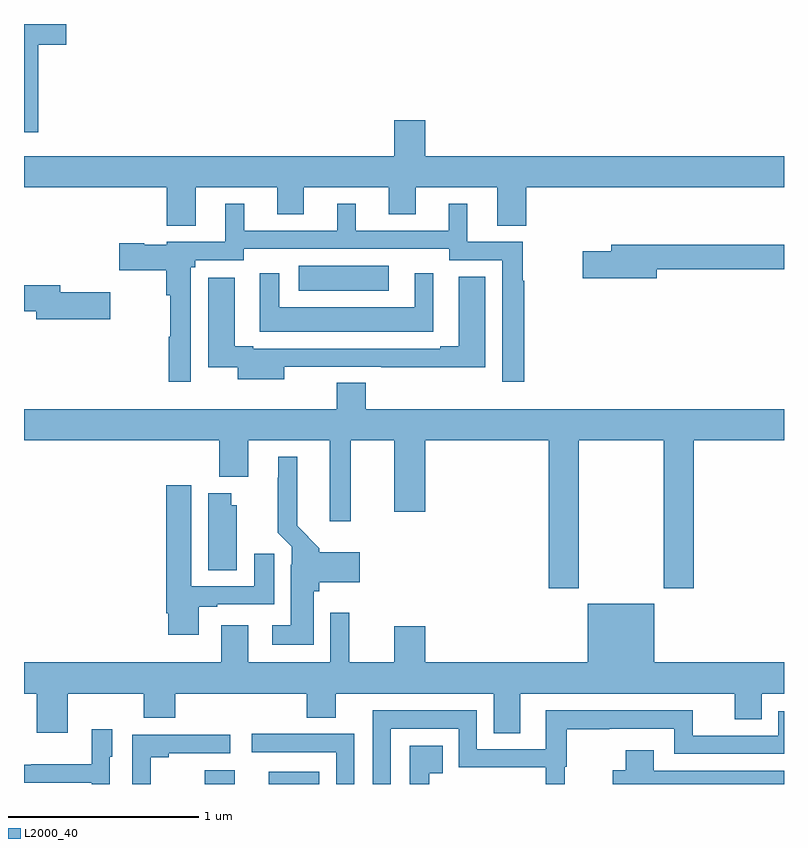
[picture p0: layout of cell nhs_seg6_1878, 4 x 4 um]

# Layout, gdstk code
import gdstk
lib = gdstk.Library(unit=1e-6, precision=1e-09)
def R(c, l, rs):  # rectangles x0, y0, x1, y1
    for r in rs: c.add(gdstk.rectangle(r[:2], r[2:], *l))
def P(c, l, *ps):  # polygons
    for p in ps: c.add(gdstk.Polygon(p, *l))
L2000_40 = (2000, 40)

nhs_seg6_1878 = lib.new_cell('nhs_seg6_1878')
R(nhs_seg6_1878, L2000_40, [(223.952,973.5,224.11,973.573), (224.288,973.5,224.553,973.564), (224.445,976.097,224.92,976.228)])
P(nhs_seg6_1878, L2000_40, [(223.075,977.39),(223.222,977.39),(223.222,977.5),(223,977.5),(223,976.929),(223.075,976.929)],
  [(223.903,976.64),(224.333,976.64),(224.333,976.498),(224.473,976.498),(224.473,976.64),(224.921,976.64),(224.921,976.498),(225.061,976.498),(225.061,976.64),(225.491,976.64),(225.491,976.438),(225.644,976.438),(225.644,976.64),(227,976.64),(227,976.804),(225.112,976.804),(225.112,976.993),(224.948,976.993),(224.948,976.804),(223,976.804),(223,976.64),(223.751,976.64),(223.751,976.438),(223.903,976.438)],
  [(223.878,976.221),(223.901,976.221),(223.901,976.257),(224.157,976.257),(224.157,976.317),(225.237,976.317),(225.237,976.257),(225.516,976.257),(225.516,975.618),(225.632,975.618),(225.632,976.15),(225.625,976.15),(225.625,976.353),(225.334,976.353),(225.334,976.555),(225.236,976.555),(225.236,976.413),(224.746,976.413),(224.746,976.555),(224.648,976.555),(224.648,976.413),(224.158,976.413),(224.158,976.555),(224.06,976.555),(224.06,976.353),(223.752,976.353),(223.752,976.339),(223.632,976.339),(223.632,976.347),(223.5,976.347),(223.5,976.205),(223.748,976.205),(223.748,976.073),(223.77,976.073),(223.77,975.854),(223.762,975.854),(223.762,975.618),(223.878,975.618)],
  [(226.33,976.21),(227,976.21),(227,976.339),(226.091,976.339),(226.091,976.305),(225.942,976.305),(225.942,976.163),(226.33,976.163)],
  [(225.154,976.189),(225.056,976.189),(225.056,976.009),(224.344,976.009),(224.344,976.189),(224.24,976.189),(224.24,975.881),(225.154,975.881)],
  [(224.371,975.696),(224.881,975.696),(224.881,975.694),(225.427,975.694),(225.427,976.171),(225.287,976.171),(225.287,975.805),(225.191,975.805),(225.191,975.792),(224.206,975.792),(224.206,975.805),(224.11,975.805),(224.11,976.165),(223.97,976.165),(223.97,975.694),(224.126,975.694),(224.126,975.629),(224.371,975.629)],
  [(223.453,976.088),(223.192,976.088),(223.192,976.124),(223,976.124),(223,975.988),(223.064,975.988),(223.064,975.946),(223.453,975.946)],
  [(225.921,975.308),(226.366,975.308),(226.366,974.529),(226.526,974.529),(226.526,975.308),(227,975.308),(227,975.472),(224.798,975.472),(224.798,975.611),(224.645,975.611),(224.645,975.472),(223,975.472),(223,975.308),(224.027,975.308),(224.027,975.116),(224.179,975.116),(224.179,975.308),(224.609,975.308),(224.609,974.883),(224.719,974.883),(224.719,975.308),(224.948,975.308),(224.948,974.934),(225.112,974.934),(225.112,975.308),(225.761,975.308),(225.761,974.529),(225.921,974.529)],
  [(224.524,974.514),(224.555,974.514),(224.555,974.561),(224.767,974.561),(224.767,974.719),(224.555,974.719),(224.555,974.742),(224.437,974.86),(224.437,975.223),(224.339,975.223),(224.339,975.113),(224.335,975.113),(224.335,974.822),(224.409,974.748),(224.409,974.654),(224.405,974.654),(224.405,974.335),(224.307,974.335),(224.307,974.234),(224.524,974.234)],
  [(223.921,974.433),(224.017,974.433),(224.017,974.445),(224.317,974.445),(224.317,974.713),(224.213,974.713),(224.213,974.541),(223.879,974.541),(223.879,975.073),(223.748,975.073),(223.748,974.398),(223.76,974.398),(223.76,974.286),(223.921,974.286)],
  [(224.119,974.967),(224.092,974.967),(224.092,975.031),(223.97,975.031),(223.97,974.626),(224.119,974.626)],
  [(225.613,973.976),(226.742,973.976),(226.742,973.84),(226.882,973.84),(226.882,973.976),(227,973.976),(227,974.14),(226.318,974.14),(226.318,974.449),(225.968,974.449),(225.968,974.14),(225.112,974.14),(225.112,974.329),(224.948,974.329),(224.948,974.14),(224.712,974.14),(224.712,974.401),(224.613,974.401),(224.613,974.14),(224.179,974.14),(224.179,974.335),(224.039,974.335),(224.039,974.14),(223,974.14),(223,973.976),(223.067,973.976),(223.067,973.77),(223.231,973.77),(223.231,973.976),(223.631,973.976),(223.631,973.848),(223.795,973.848),(223.795,973.976),(224.489,973.976),(224.489,973.849),(224.641,973.849),(224.641,973.976),(225.473,973.976),(225.473,973.768),(225.613,973.768)],
  [(224.931,973.791),(225.288,973.791),(225.288,973.587),(225.747,973.587),(225.747,973.5),(225.846,973.5),(225.846,973.59),(225.856,973.59),(225.856,973.789),(226.079,973.789),(226.079,973.791),(226.422,973.791),(226.422,973.659),(227,973.659),(227,973.884),(226.971,973.884),(226.971,973.755),(226.521,973.755),(226.521,973.887),(225.746,973.887),(225.746,973.683),(225.384,973.683),(225.384,973.887),(224.835,973.887),(224.835,973.5),(224.931,973.5)],
  [(223.452,973.644),(223.465,973.644),(223.465,973.789),(223.356,973.789),(223.356,973.603),(223.039,973.603),(223.039,973.602),(223,973.602),(223,973.506),(223.356,973.506),(223.356,973.5),(223.452,973.5)],
  [(224.739,973.764),(224.199,973.764),(224.199,973.668),(224.643,973.668),(224.643,973.5),(224.739,973.5)],
  [(223.667,973.642),(223.762,973.642),(223.762,973.662),(224.086,973.662),(224.086,973.758),(223.569,973.758),(223.569,973.5),(223.667,973.5)],
  [(225.133,973.556),(225.203,973.556),(225.203,973.702),(225.029,973.702),(225.029,973.5),(225.133,973.5)],
  [(227,973.569),(226.315,973.569),(226.315,973.678),(226.168,973.678),(226.168,973.572),(226.098,973.572),(226.098,973.5),(227,973.5)])

lib.write_gds('nhs_seg6_1878.gds')
